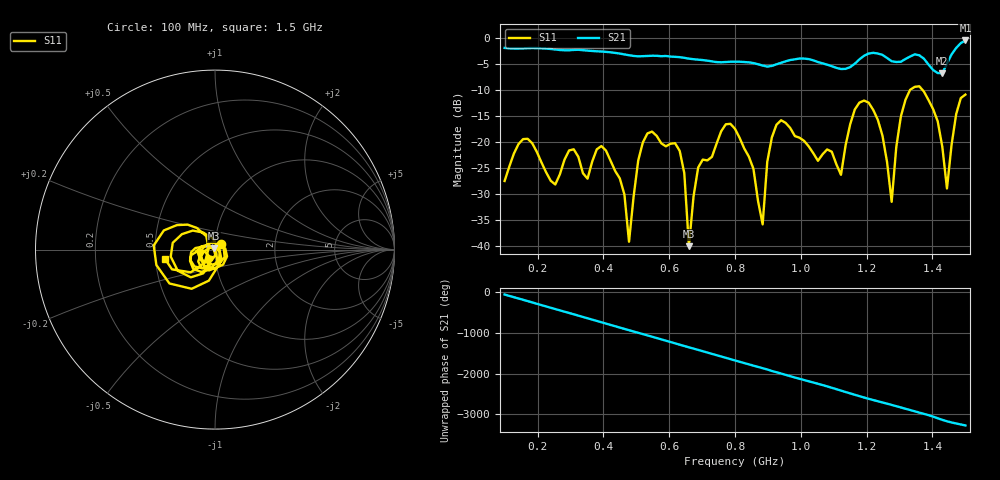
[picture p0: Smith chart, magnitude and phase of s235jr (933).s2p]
! NanoVNA-App
! Date: 2025-09-25 15:11:26
! Start: 100MHz Stop: 1,5GHz Points: 101
! S-Parameter data: F S11 S21 S12 S22
# Hz S RI R 50
!  Frequency  S11_Real  S11_Imag  S21_Real  S21_Imag  S12_Real  S12_Imag  S22_Real  S22_Imag
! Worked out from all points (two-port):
!   101 points, 100 MHz to 1.5 GHz, reference 50 ohm
!   highest |S21| = -0.53 dB at 1.5 GHz (marker M1); lowest = -6.8 dB at 1.43 GHz (marker M2)
!   |S21| within 3 dB of the highest: start of sweep to 497.7 MHz; 1.191 GHz to 1.254 GHz (62.83 MHz wide, 5.14 % of centre) (the widest 2 of 6)
!   lowest |S11| = -40.0 dB at 660 MHz (marker M3), VSWR 1.02, Z = 49.2 + j0.627 ohm
!   |S11| at or under -10 dB: start of sweep to 1.332 GHz; 1.369 GHz to end of sweep
!   S12 and S22 are empty: the file has one direction only
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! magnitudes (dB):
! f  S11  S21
! 100 MHz  -27.5  -2.0
! 156 MHz  -19.4  -2.1
! 338 MHz  -26.0  -2.4
! 408 MHz  -21.6  -2.7
! 478 MHz  -39.1  -3.4
! 520 MHz  -20.1  -3.5
! 576 MHz  -20.2  -3.6
! 632 MHz  -21.7  -3.7
! 660 MHz  -40.0  -4.0
! 688 MHz  -24.9  -4.2
! 800 MHz  -17.5  -4.6
! 884 MHz  -35.8  -5.3
! 926 MHz  -16.7  -5.1
! 1.038 GHz  -22.2  -4.3
! 1.122 GHz  -26.3  -6.0
! 1.206 GHz  -12.4  -3.0
! 1.276 GHz  -31.5  -4.5
! 1.304 GHz  -15.1  -4.6
! 1.332 GHz  -10.0  -3.6
! 1.43 GHz  -21.0  -6.8
! 1.444 GHz  -28.9  -5.0
! 1.5 GHz  -10.9  -0.5
